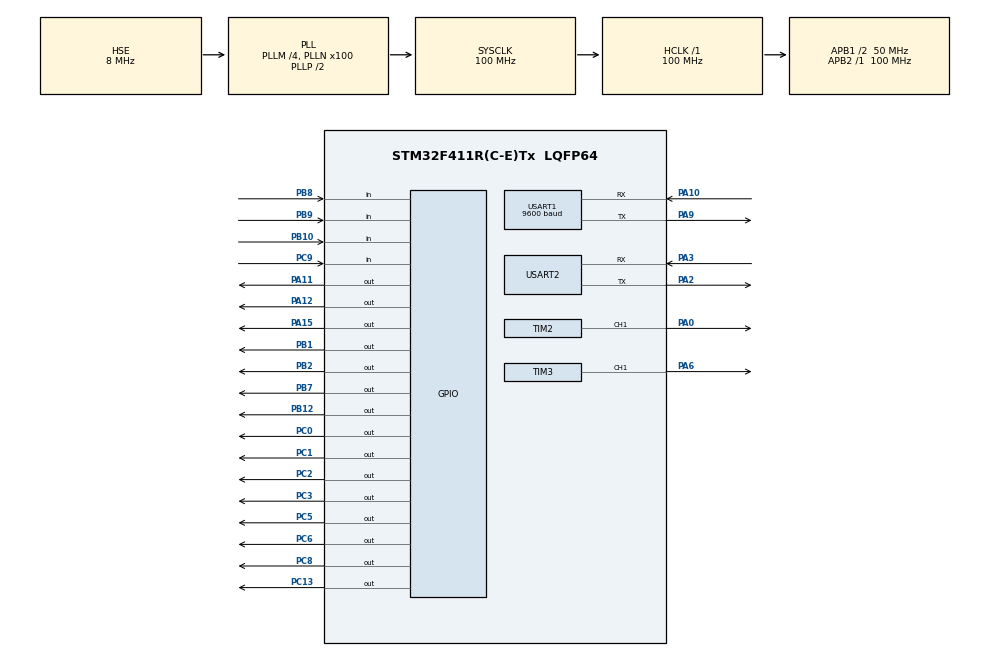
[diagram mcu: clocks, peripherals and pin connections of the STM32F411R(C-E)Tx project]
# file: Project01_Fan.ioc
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Mcu.Family=STM32F4
Mcu.Name=STM32F411R(C-E)Tx
Mcu.Package=LQFP64
NVIC.PriorityGroup=NVIC_PRIORITYGROUP_4
NVIC.RCC_IRQn=true\:0\:0\:false\:false\:true\:true\:false\:true
NVIC.USART1_IRQn=true\:0\:0\:false\:false\:true\:true\:true\:true
NVIC.USART2_IRQn=true\:0\:0\:false\:false\:true\:true\:true\:true
PA0-WKUP.Signal=S_TIM2_CH1_ETR
PA10.Mode=Asynchronous
PA10.Signal=USART1_RX
PA11.Signal=GPIO_Output
PA12.Signal=GPIO_Output
PA13.Mode=Serial_Wire
PA13.Signal=SYS_JTMS-SWDIO
PA14.Mode=Serial_Wire
PA14.Signal=SYS_JTCK-SWCLK
PA15.Signal=GPIO_Output
PA2.Mode=Asynchronous
PA2.Signal=USART2_TX
PA3.Mode=Asynchronous
PA3.Signal=USART2_RX
PA6.Signal=S_TIM3_CH1
PA9.Mode=Asynchronous
PA9.Signal=USART1_TX
PB1.Signal=GPIO_Output
PB10.GPIO_PuPd=GPIO_PULLUP
PB10.Signal=GPIO_Input
PB12.Signal=GPIO_Output
PB2.Signal=GPIO_Output
PB7.Signal=GPIO_Output
PB8.GPIO_PuPd=GPIO_PULLUP
PB8.Signal=GPIO_Input
PB9.GPIO_PuPd=GPIO_PULLUP
PB9.Signal=GPIO_Input
PC0.Signal=GPIO_Output
PC1.Signal=GPIO_Output
PC13-ANTI_TAMP.Signal=GPIO_Output
PC2.Signal=GPIO_Output
PC3.Signal=GPIO_Output
PC5.Signal=GPIO_Output
PC6.Signal=GPIO_Output
PC8.Signal=GPIO_Output
PC9.GPIO_PuPd=GPIO_PULLUP
PC9.Signal=GPIO_Input
PH0\ -\ OSC_IN.Mode=HSE-External-Clock-Source
PH0\ -\ OSC_IN.Signal=RCC_OSC_IN
PH1\ -\ OSC_OUT.Mode=HSE-External-Clock-Source
PH1\ -\ OSC_OUT.Signal=RCC_OSC_OUT
ProjectManager.HeapSize=0x200
ProjectManager.StackSize=0x400
ProjectManager.TargetToolchain=STM32CubeIDE
RCC.48MHZClocksFreq_Value=50000000
RCC.AHBFreq_Value=100000000
RCC.APB1CLKDivider=RCC_HCLK_DIV2
RCC.APB1Freq_Value=50000000
RCC.APB1TimFreq_Value=100000000
RCC.APB2Freq_Value=100000000
RCC.APB2TimFreq_Value=100000000
RCC.CortexFreq_Value=100000000
RCC.HCLKFreq_Value=100000000
RCC.HSE_VALUE=8000000
RCC.HSI_VALUE=16000000
RCC.LSE_VALUE=32768
RCC.PLLM=4
RCC.PLLN=100
RCC.PLLSourceVirtual=RCC_PLLSOURCE_HSE
RCC.SYSCLKFreq_VALUE=100000000
RCC.SYSCLKSource=RCC_SYSCLKSOURCE_PLLCLK
RCC.VCOOutputFreq_Value=200000000
SH.S_TIM2_CH1_ETR.0=TIM2_CH1,PWM Generation1 CH1
SH.S_TIM3_CH1.0=TIM3_CH1,PWM Generation1 CH1
TIM2.Channel-PWM\ Generation1\ CH1=TIM_CHANNEL_1
TIM2.Period=1000-1
TIM2.Prescaler=5-1
TIM3.Channel-PWM\ Generation1\ CH1=TIM_CHANNEL_1
TIM3.Period=20000-1
TIM3.Prescaler=100-1
TIM3.Pulse-PWM\ Generation1\ CH1=300
USART1.BaudRate=9600
USART1.VirtualMode=VM_ASYNC
USART2.VirtualMode=VM_ASYNC
VP_TIM3_VS_ClockSourceINT.Mode=Internal
board=custom

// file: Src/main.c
/* USER CODE BEGIN Header */
/**
  ******************************************************************************
  * @file           : main.c
  * @brief          : Main program body
  ******************************************************************************
  * @attention
  *
  * Copyright (c) 2026 STMicroelectronics.
  * All rights reserved.
  *
  * This software is licensed under terms that can be found in the LICENSE file
  * in the root directory of this software component.
  * If no LICENSE file comes with this software, it is provided AS-IS.
  *
  ******************************************************************************
  */
/* USER CODE END Header */
#include "main.h"
#include "tim.h"
#include "usart.h"
#include "gpio.h"

/* USER CODE BEGIN Includes */

#include "led.h"
#include "button.h"
#include "debounce.h"
#include "fnd.h"
#include "servo.h"
#include "fan.h"

#include "timer_app.h"

#include <stdint.h>

/* USER CODE END Includes */

/* USER CODE BEGIN PD */

#define DEBOUNCE_DELAY 30		// 30ms

/* USER CODE END PD */

/* USER CODE BEGIN PV */

/* =========================================================
 * BT(UART1) RX Ring Buffer
 * ========================================================= */
#define BT_BUF_SZ  32u

static uint8_t  s_bt_rx = 0;
static volatile uint8_t  s_bt_buf[BT_BUF_SZ];
static volatile uint16_t s_bt_w = 0;
static volatile uint16_t s_bt_r = 0;

/* USER CODE END PV */

void SystemClock_Config(void);
/* USER CODE BEGIN PFP */

static void All_StopEverything(void);

static void BT_Push(uint8_t b);
static uint8_t BT_Pop(uint8_t *out);

/* USER CODE END PFP */

/* USER CODE BEGIN 0 */

/* =========================================================
 * UART RX Interrupt Callback
 * ========================================================= */
void HAL_UART_RxCpltCallback(UART_HandleTypeDef *huart)
{
    if (huart->Instance == USART1)
    {
        BT_Push(s_bt_rx);
        HAL_UART_Receive_IT(&huart1, &s_bt_rx, 1);
    }
}

/* =========================================================
 * BT Ring Buffer
 * ========================================================= */
static void BT_Push(uint8_t b)
{
    uint16_t next = (uint16_t)((s_bt_w + 1u) % BT_BUF_SZ);
    if (next == s_bt_r) return;   /* overflow → drop */
    s_bt_buf[s_bt_w] = b;
    s_bt_w = next;
}

static uint8_t BT_Pop(uint8_t *out)
{
    if (s_bt_r == s_bt_w) return 0u;
    *out = s_bt_buf[s_bt_r];
    s_bt_r = (uint16_t)((s_bt_r + 1u) % BT_BUF_SZ);
    return 1u;
}

/* =========================================================
 * 전체 정지 처리
 * ========================================================= */
static void All_StopEverything(void)
{
    Timer_Cancel();
    FND_AllOff();

    Fan_ApplyStep(FAN_STEP_0);
    Swing_SetOn(0);      /* 현재 각도 유지 */
}

/* USER CODE END 0 */

int main(void)
{

  /* MCU Configuration--------------------------------------------------------*/

  /* Reset of all peripherals, Initializes the Flash interface and the Systick. */
  HAL_Init();

  /* Configure the system clock */
  SystemClock_Config();

  /* Initialize all configured peripherals */
  MX_GPIO_Init();
  MX_USART2_UART_Init();
  MX_TIM3_Init();
  MX_USART1_UART_Init();
  MX_TIM2_Init();
  /* USER CODE BEGIN 2 */

  /* PWM start */
  HAL_TIM_PWM_Start(&htim2, TIM_CHANNEL_1);
  HAL_TIM_PWM_Start(&htim3, TIM_CHANNEL_1);

  /* Module init */
  Fan_Init(&htim2, TIM_CHANNEL_1);

  Servo_Init(&htim3, TIM_CHANNEL_1, 700, 2300);
  Swing_Init(90, 40, 140);
  Swing_SetOn(0);

  FND_InitPins();
  FND_AllOff();

  /* UART RX start */
  HAL_UART_Receive_IT(&huart1, &s_bt_rx, 1);

  /* USER CODE END 2 */

  /* Infinite loop */
  /* USER CODE BEGIN WHILE */
  while (1)
  {
  		/* 버튼 번호는 button.c 배열 순서에 맞춰 사용
			 0:STOP(PC9), 1:UP(PB8), 2:DOWN(PB9), 3:SWING(PC7) */

		if (buttonGetPressed(0)) { All_StopEverything(); }

		if (buttonGetPressed(1))
		{
				FanStep_t next = Fan_NextUp(Fan_GetStep());
				Fan_ApplyStep(next);
		}

		if (buttonGetPressed(2))
		{
				FanStep_t next = Fan_NextDown(Fan_GetStep());
				Fan_ApplyStep(next);
		}

		if (buttonGetPressed(3))
		{
				Swing_SetOn((uint8_t)!Swing_IsOn());
		}

		/* BT: '1'~'9' -> Timer_SetMinutes */
		uint8_t c;
		while (BT_Pop(&c))
		{
				if (c == '\r' || c == '\n' || c == ' ') continue;
				if (c >= '1' && c <= '9')
				{
						uint8_t min = (uint8_t)(c - '0');
						Timer_SetMinutes(min);
						FND_Display(min); /* 세팅 직후 표시 */
				}
		}

		/* Swing update */
		Swing_Task();

		/* Timer update */
		uint8_t disp;
		if (Timer_Task1s(&disp))
		{
				/* 만료 */
				All_StopEverything();
		}
		else
		{
				/* 동작 중이면 disp 표시(옵션: remain_sec>0일 때만) */
				if (Timer_GetRemainSec() > 0u)
						FND_Display(disp);
		}

    /* USER CODE END WHILE */

  }
}

void SystemClock_Config(void)
{
  RCC_OscInitTypeDef RCC_OscInitStruct = {0};
  RCC_ClkInitTypeDef RCC_ClkInitStruct = {0};

  /** Configure the main internal regulator output voltage
  */
  __HAL_RCC_PWR_CLK_ENABLE();
  __HAL_PWR_VOLTAGESCALING_CONFIG(PWR_REGULATOR_VOLTAGE_SCALE1);

  /** Initializes the RCC Oscillators according to the specified parameters
  * in the RCC_OscInitTypeDef structure.
  */
  RCC_OscInitStruct.OscillatorType = RCC_OSCILLATORTYPE_HSE;
  RCC_OscInitStruct.HSEState = RCC_HSE_BYPASS;
  RCC_OscInitStruct.PLL.PLLState = RCC_PLL_ON;
  RCC_OscInitStruct.PLL.PLLSource = RCC_PLLSOURCE_HSE;
  RCC_OscInitStruct.PLL.PLLM = 4;
  RCC_OscInitStruct.PLL.PLLN = 100;
  RCC_OscInitStruct.PLL.PLLP = RCC_PLLP_DIV2;
  RCC_OscInitStruct.PLL.PLLQ = 4;
  if (HAL_RCC_OscConfig(&RCC_OscInitStruct) != HAL_OK)
  {
    Error_Handler();
  }

  /** Initializes the CPU, AHB and APB buses clocks
  */
  RCC_ClkInitStruct.ClockType = RCC_CLOCKTYPE_HCLK|RCC_CLOCKTYPE_SYSCLK
                              |RCC_CLOCKTYPE_PCLK1|RCC_CLOCKTYPE_PCLK2;
  RCC_ClkInitStruct.SYSCLKSource = RCC_SYSCLKSOURCE_PLLCLK;
  RCC_ClkInitStruct.AHBCLKDivider = RCC_SYSCLK_DIV1;
  RCC_ClkInitStruct.APB1CLKDivider = RCC_HCLK_DIV2;
  RCC_ClkInitStruct.APB2CLKDivider = RCC_HCLK_DIV1;

  if (HAL_RCC_ClockConfig(&RCC_ClkInitStruct, FLASH_LATENCY_3) != HAL_OK)
  {
    Error_Handler();
  }
}

void Error_Handler(void)
{
  __disable_irq();
  while (1)
  {
  }
}
